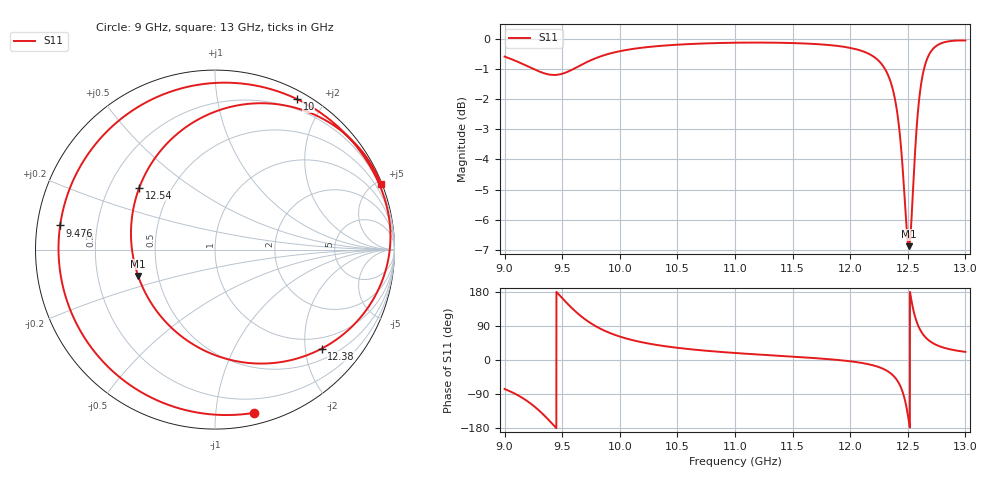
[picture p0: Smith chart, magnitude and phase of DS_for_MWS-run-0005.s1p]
! TOUCHSTONE file generated by CST DESIGN STUDIO
! Date and time: Wed Feb  5 13:21:48 2025
! Project name: C:\Work\MatlabApps\UnitCellOptimizationMatlab\CST\unitcell.cst
! Tree item: Tasks\Sweep1\SPara1\S-Parameters
! Header version: 2024
! Port assignment regex: !\s*Touchstone port\s*([0-9]+)\s*=\s*(CST MWS port|CST DES external port|CST DES block port)\s*(.+)\s* \(\"(.*)\"\)(\s*mode\s*([0-9]+))?.*
! Touchstone port assignment:
! Touchstone port 1 = CST DES external port 1 ("")
# GHz S MA R 50
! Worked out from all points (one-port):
!   4001 points, 9 GHz to 13 GHz, reference 50 ohm
!   lowest |S11| = -6.9 dB at 12.51 GHz (marker M1), VSWR 2.65, Z = 19.3 - j7.11 ohm
!   |S11| at or under -10 dB: nowhere
!   S11 on the Smith chart (normalised r, x): 9 GHz: 0.09, -1.26; 9.476 GHz: 0.07, +0.08; 10 GHz: 0.09, +1.68; 12.38 GHz: 0.73, -2.35; 12.54 GHz: 0.33, +0.32; 13 GHz: 0.08, +5.28
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9  0.9351 -76.6
9.146  0.911 -98.4
9.256  0.8909 -122.0
9.381  0.8735 -157.7
9.476  0.8734 171.1
9.5  0.8756 163.2
9.603  0.8928 131.5
9.704  0.9136 106.2
9.849  0.938 79.9
10  0.9546 61.8
10.004  0.9549 61.4
10.216  0.9685 45.3
10.5  0.9786 32.2
11  0.986 18.5
11.5  0.9847 8.8
12  0.9666 -3.4
12.253  0.9177 -19.2
12.379  0.811 -42.9
12.451  0.6269 -80.6
12.5  0.4598 -144.2
12.509  0.4528 -161.1
12.542  0.5453 140.7
12.571  0.6867 106.3
12.601  0.8016 83.5
12.648  0.9029 61.7
12.703  0.9547 47.2
12.814  0.9875 32.3
13  0.9945 21.4
